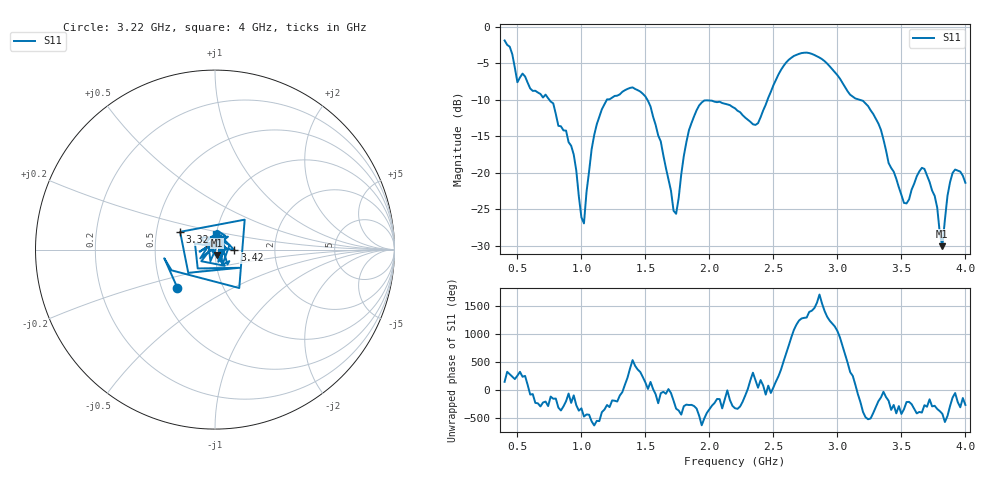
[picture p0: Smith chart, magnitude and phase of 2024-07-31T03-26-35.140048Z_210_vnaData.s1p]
!Created with skrf (http://scikit-rf.org).
# Hz S RI R 50.0
!freq ReS11 ImS11
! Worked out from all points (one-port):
!   181 points, 400 MHz to 4 GHz, reference 50 ohm
!   lowest |S11| = -30.0 dB at 3.82 GHz (marker M1), VSWR 1.07, Z = 50.9 - j3.05 ohm
!   |S11| at or under -10 dB: 749.9 MHz to 1.198 GHz (448.1 MHz wide, 46 % of centre); 1.516 GHz to 2.454 GHz (938 MHz wide, 47.3 % of centre); 3.178 GHz to end of sweep
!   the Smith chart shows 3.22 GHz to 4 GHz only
!   S11 on the Smith chart (normalised r, x): 3.22 GHz: 0.60, -0.28; 3.32 GHz: 0.66, +0.14; 3.42 GHz: 1.24, -0.01; 4 GHz: 0.99, +0.17
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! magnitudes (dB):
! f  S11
! 400 MHz  -1.9
! 500 MHz  -7.6
! 720 MHz  -9.3
! 860 MHz  -14.2
! 940 MHz  -17.5
! 1.02 GHz  -26.9
! 1.08 GHz  -16.8
! 1.12 GHz  -13.3
! 1.3 GHz  -9.2
! 1.52 GHz  -10.1
! 1.72 GHz  -25.2
! 1.76 GHz  -23.4
! 1.84 GHz  -14.2
! 1.92 GHz  -10.8
! 2.2 GHz  -11.2
! 2.38 GHz  -13.2
! 2.66 GHz  -4.0
! 2.88 GHz  -4.4
! 3.1 GHz  -9.3
! 3.22 GHz  -10.5
! 3.32 GHz  -13.2
! 3.42 GHz  -19.3
! 3.56 GHz  -23.6
! 3.68 GHz  -19.5
! 3.76 GHz  -23.2
! 3.82 GHz  -30.0
! 3.9 GHz  -20.0
! 4 GHz  -21.4
